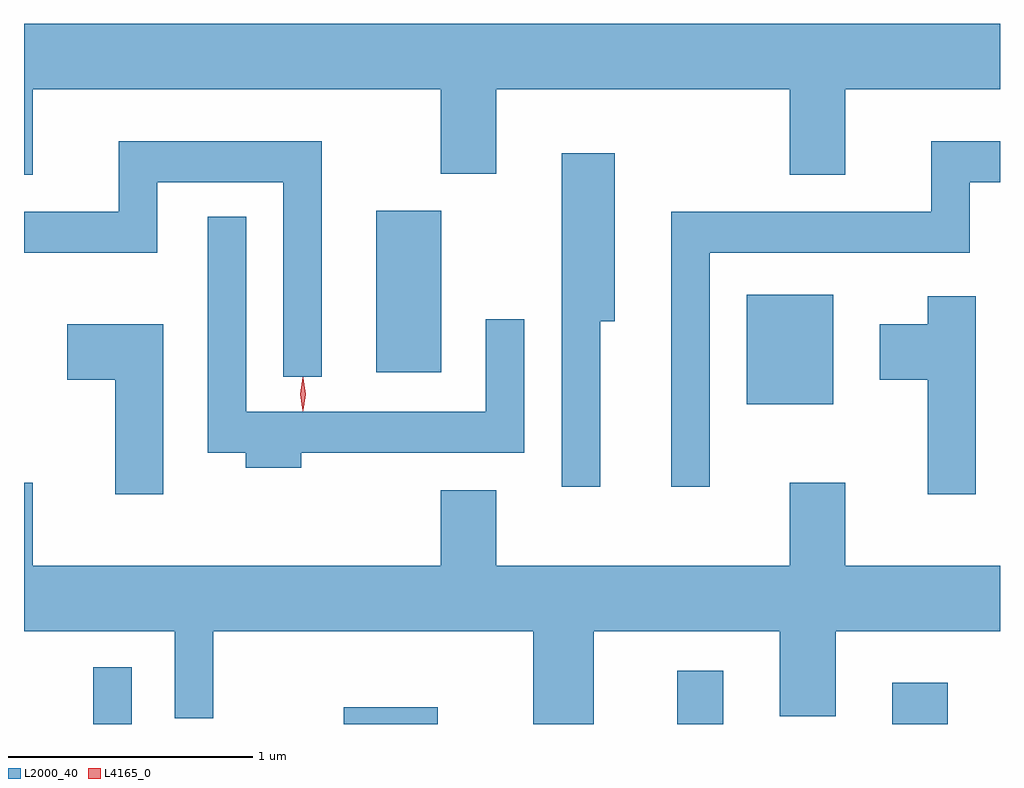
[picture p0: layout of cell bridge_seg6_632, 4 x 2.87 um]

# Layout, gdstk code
import gdstk
lib = gdstk.Library(unit=1e-6, precision=1e-09)
def R(c, l, rs):  # rectangles x0, y0, x1, y1
    for r in rs: c.add(gdstk.rectangle(r[:2], r[2:], *l))
def P(c, l, *ps):  # polygons
    for p in ps: c.add(gdstk.Polygon(p, *l))
L2000_40 = (2000, 40)
L4165_0 = (4165, 0)

bridge_seg6_632 = lib.new_cell('bridge_seg6_632')
R(bridge_seg6_632, L2000_40, [(303.636,1649.555,303.794,1649.788), (304.663,1649.555,305.049,1649.624), (306.031,1649.555,306.219,1649.774), (306.911,1649.555,307.139,1649.724), (306.316,1650.866,306.669,1651.314), (304.796,1650.996,305.064,1651.659)])
P(bridge_seg6_632, L2000_40, [(303.389,1652.156),(305.061,1652.156),(305.061,1651.811),(305.289,1651.811),(305.289,1652.156),(306.491,1652.156),(306.491,1651.806),(306.719,1651.806),(306.719,1652.156),(307.353,1652.156),(307.353,1652.424),(303.353,1652.424),(303.353,1651.806),(303.389,1651.806)],
  [(304.574,1651.944),(303.741,1651.944),(303.741,1651.654),(303.353,1651.654),(303.353,1651.486),(303.899,1651.486),(303.899,1651.776),(304.416,1651.776),(304.416,1650.978),(304.574,1650.978)],
  [(306.164,1651.486),(307.229,1651.486),(307.229,1651.776),(307.353,1651.776),(307.353,1651.944),(307.071,1651.944),(307.071,1651.654),(306.006,1651.654),(306.006,1650.528),(306.164,1650.528)],
  [(305.714,1651.206),(305.774,1651.206),(305.774,1651.894),(305.556,1651.894),(305.556,1650.528),(305.714,1650.528)],
  [(304.489,1650.666),(305.404,1650.666),(305.404,1651.213),(305.246,1651.213),(305.246,1650.834),(304.264,1650.834),(304.264,1651.633),(304.106,1651.633),(304.106,1650.666),(304.261,1650.666),(304.261,1650.606),(304.489,1650.606)],
  [(307.254,1651.309),(307.056,1651.309),(307.056,1651.194),(306.861,1651.194),(306.861,1650.966),(307.056,1650.966),(307.056,1650.496),(307.254,1650.496)],
  [(303.924,1651.194),(303.531,1651.194),(303.531,1650.966),(303.726,1650.966),(303.726,1650.496),(303.924,1650.496)],
  [(305.689,1649.936),(306.451,1649.936),(306.451,1649.586),(306.679,1649.586),(306.679,1649.936),(307.353,1649.936),(307.353,1650.204),(306.719,1650.204),(306.719,1650.544),(306.491,1650.544),(306.491,1650.204),(305.289,1650.204),(305.289,1650.514),(305.061,1650.514),(305.061,1650.204),(303.389,1650.204),(303.389,1650.544),(303.353,1650.544),(303.353,1649.936),(303.971,1649.936),(303.971,1649.578),(304.129,1649.578),(304.129,1649.936),(305.441,1649.936),(305.441,1649.555),(305.689,1649.555)])
P(bridge_seg6_632, L4165_0, [(304.496,1650.837),(304.496,1650.838),(304.486,1650.907),(304.496,1650.976),(304.496,1650.976),(304.497,1650.976),(304.506,1650.907),(304.497,1650.838)],
  [(304.497,1650.839),(304.497,1650.84),(304.488,1650.906),(304.497,1650.972),(304.497,1650.973),(304.498,1650.972),(304.507,1650.906),(304.498,1650.84)])

lib.write_gds('bridge_seg6_632.gds')
